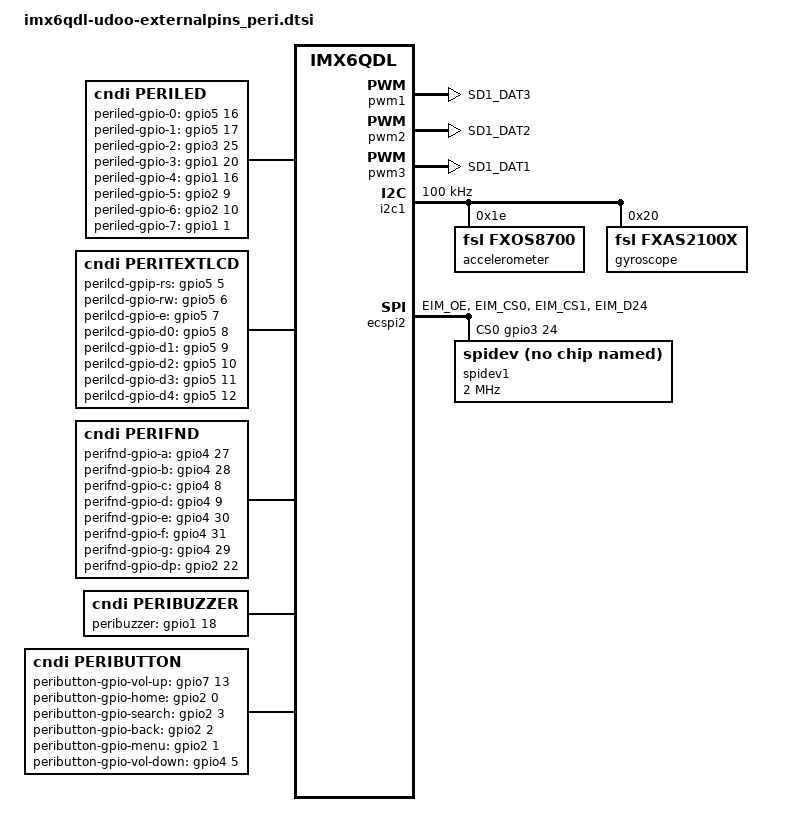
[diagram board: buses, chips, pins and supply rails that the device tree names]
/*
 * Author: Francesco Montefoschi <francesco.monte@gmail.com> 
 *
 * This program is free software; you can redistribute it and/or modify
 * it under the terms of the GNU General Public License version 2 as
 * published by the Free Software Foundation.
 *
 */
 
&iomuxc {
    imx6q-udoo {
        // External Pinout GPIOs
        external_hog: hoggrp-2 {
        fsl,pins = <
            MX6QDL_PAD_CSI0_DAT11__GPIO5_IO29    0x80000000  // {{external-gpio-0}}
            MX6QDL_PAD_CSI0_DAT10__GPIO5_IO28    0x80000000  // {{external-gpio-1}}
//            MX6QDL_PAD_SD1_CLK__GPIO1_IO20       0x80000000  // {{external-gpio-2}} peri LED3
//            MX6QDL_PAD_SD1_DAT0__GPIO1_IO16      0x80000000  // {{external-gpio-3}} peri LED4
//            MX6QDL_PAD_SD1_DAT1__GPIO1_IO17      0x80000000  // {{external-gpio-4}} peri LED5	=> color LED blue 
//            MX6QDL_PAD_SD1_CMD__GPIO1_IO18       0x80000000  // {{external-gpio-5}} buzzer
//            MX6QDL_PAD_SD4_DAT1__GPIO2_IO09      0x80000000  // {{external-gpio-6}}   peri LED5
//            MX6QDL_PAD_SD4_DAT2__GPIO2_IO10      0x80000000  // {{external-gpio-7}} peri LED6
//            MX6QDL_PAD_SD1_DAT3__GPIO1_IO21      0x80000000  // {{external-gpio-8}} color LED Red
//            MX6QDL_PAD_SD1_DAT2__GPIO1_IO19      0x80000000  // {{external-gpio-9}} color LED Green
//            MX6QDL_PAD_GPIO_1__GPIO1_IO01        0x80000000  // {{external-gpio-10}} peri LED7
            MX6QDL_PAD_GPIO_9__GPIO1_IO09        0x80000000  // {{external-gpio-11}}
            MX6QDL_PAD_GPIO_3__GPIO1_IO03        0x80000000  // {{external-gpio-12}}
            MX6QDL_PAD_SD4_DAT0__GPIO2_IO08      0x80000000  // {{external-gpio-13}}
//            MX6QDL_PAD_CSI0_DAT4__GPIO5_IO22     0x80000000  // {{external-gpio-14}} FND_S5
//            MX6QDL_PAD_CSI0_DAT16__GPIO6_IO02    0x80000000  // {{external-gpio-15}} FND_S4
//            MX6QDL_PAD_CSI0_DAT14__GPIO6_IO00    0x80000000  // {{external-gpio-16}} FND_S3
//            MX6QDL_PAD_CSI0_DAT15__GPIO6_IO01    0x80000000  // {{external-gpio-17}} FND_S2
//            MX6QDL_PAD_CSI0_DAT12__GPIO5_IO30    0x80000000  // {{external-gpio-18}} FND_S1
//            MX6QDL_PAD_CSI0_DAT13__GPIO5_IO31    0x80000000  // {{external-gpio-19}} FND_S0
//            MX6QDL_PAD_EIM_D28__GPIO3_IO28       0x80000000  // {{external-gpio-20}}  I2C1 SDA
//            MX6QDL_PAD_EIM_D21__GPIO3_IO21       0x80000000  // {{external-gpio-21}}  I2C1 SCL
//            MX6QDL_PAD_DISP0_DAT6__GPIO4_IO27    0x80000000  // {{external-gpio-22}} FND_D0
//            MX6QDL_PAD_DISP0_DAT7__GPIO4_IO28    0x80000000  // {{external-gpio-23}} FND_D1
//            MX6QDL_PAD_DISP0_DAT8__GPIO4_IO29    0x80000000  // {{external-gpio-24}} FND_D3
//            MX6QDL_PAD_DISP0_DAT9__GPIO4_IO30    0x80000000  // {{external-gpio-25}} FND_D4
//            MX6QDL_PAD_DISP0_DAT10__GPIO4_IO31   0x80000000  // {{external-gpio-26}} FND_D5
//            MX6QDL_PAD_DISP0_DAT11__GPIO5_IO05   0x80000000  // {{external-gpio-27}}  (LCD_RS)
//            MX6QDL_PAD_DISP0_DAT12__GPIO5_IO06   0x80000000  // {{external-gpio-28}}  (LCD_RW)
//            MX6QDL_PAD_DISP0_DAT13__GPIO5_IO07   0x80000000  // {{external-gpio-29}}  (LCD_E)
//            MX6QDL_PAD_DISP0_DAT14__GPIO5_IO08   0x80000000  // {{external-gpio-30}}  (LCD_D0)
//            MX6QDL_PAD_DISP0_DAT15__GPIO5_IO09   0x80000000  // {{external-gpio-31}}  (LCD_D1)
//            MX6QDL_PAD_DISP0_DAT16__GPIO5_IO10   0x80000000  // {{external-gpio-32}}  (LCD_D2)
//            MX6QDL_PAD_DISP0_DAT17__GPIO5_IO11   0x80000000  // {{external-gpio-33}}  (LCD_D3)
//            MX6QDL_PAD_DISP0_DAT18__GPIO5_IO12   0x80000000  // {{external-gpio-34}}  (LCD_D4)
//            MX6QDL_PAD_DISP0_DAT19__GPIO5_IO13   0x80000000  // {{external-gpio-35}}  (LCD_D5)
//            MX6QDL_PAD_DISP0_DAT20__GPIO5_IO14   0x80000000  // {{external-gpio-36}}  (LCD_D6)
//            MX6QDL_PAD_DISP0_DAT21__GPIO5_IO15   0x80000000  // {{external-gpio-37}}  (LCD_D7)
//            MX6QDL_PAD_EIM_A16__GPIO2_IO22       0x80000000  // {{external-gpio-38}} FND_D2
//            MX6QDL_PAD_GPIO_18__GPIO7_IO13       0x80000000  // {{external-gpio-39}} (KEY_VOL_UP)
//            MX6QDL_PAD_NANDF_D0__GPIO2_IO00      0x80000000  // {{external-gpio-40}} (HOME)
//            MX6QDL_PAD_NANDF_D3__GPIO2_IO03      0x80000000  // {{external-gpio-41}} (SEARCH)
//            MX6QDL_PAD_NANDF_D2__GPIO2_IO02      0x80000000  // {{external-gpio-42}} (BACK)
//            MX6QDL_PAD_NANDF_D1__GPIO2_IO01      0x80000000  // {{external-gpio-43}} (MENU)
//            MX6QDL_PAD_GPIO_19__GPIO4_IO05       0x80000000  // {{external-gpio-44}} (KEY_VOL_DOWN)
//           MX6QDL_PAD_DISP0_DAT22__GPIO5_IO16   0x80000000  // {{external-gpio-45}} peri LED0
//           MX6QDL_PAD_DISP0_DAT23__GPIO5_IO17   0x80000000  // {{external-gpio-46}} peri LED1	
//           MX6QDL_PAD_EIM_D25__GPIO3_IO25       0x80000000  // {{external-gpio-47}} peri LED2
//            MX6QDL_PAD_KEY_ROW1__GPIO4_IO09      0x80000000  // {{external-gpio-48}} FND_D6
//            MX6QDL_PAD_KEY_COL1__GPIO4_IO08      0x80000000  // {{external-gpio-49}} FND_D7
//            MX6QDL_PAD_EIM_OE__GPIO2_IO25        0x80000000  // {{external-gpio-50}}
//            MX6QDL_PAD_EIM_CS1__GPIO2_IO24       0x80000000  // {{external-gpio-51}}
//            MX6QDL_PAD_EIM_CS0__GPIO2_IO23       0x80000000  // {{external-gpio-52}}
//           MX6QDL_PAD_EIM_D24__GPIO3_IO24       0x80000000  // {{external-gpio-53}}
            MX6QDL_PAD_GPIO_8__GPIO1_IO08        0x80000000  // {{external-gpio-54}}
            MX6QDL_PAD_GPIO_7__GPIO1_IO07        0x80000000  // {{external-gpio-55}}
            >;
        };
//cndi peri LED
		pinctrl_periled: ledgrp {
			fsl,pins = <
				MX6QDL_PAD_DISP0_DAT22__GPIO5_IO16   0x80000000  // {{external-gpio-45}} peri LED0
				MX6QDL_PAD_DISP0_DAT23__GPIO5_IO17   0x80000000  // {{external-gpio-46}} peri LED1	
				MX6QDL_PAD_EIM_D25__GPIO3_IO25       0x80000000  // {{external-gpio-47}} peri LED2
				MX6QDL_PAD_SD1_CLK__GPIO1_IO20       0x80000000  // {{external-gpio-2}} peri LED3
				MX6QDL_PAD_SD1_DAT0__GPIO1_IO16      0x80000000  // {{external-gpio-3}} peri LED4
//				MX6QDL_PAD_SD1_DAT1__GPIO1_IO17      0x80000000  // {{external-gpio-4}} peri LED5	
				MX6QDL_PAD_SD4_DAT1__GPIO2_IO09      0x80000000  // {{external-gpio-6}} peri LED5
				MX6QDL_PAD_SD4_DAT2__GPIO2_IO10      0x80000000  // {{external-gpio-7}} peri LED6
				MX6QDL_PAD_GPIO_1__GPIO1_IO01        0x80000000  // {{external-gpio-10}} peri LED7
			>;

		};
//cndi  text LCD
		pinctrl_peritextlcd: textgrp {
			fsl,pins = <
            MX6QDL_PAD_DISP0_DAT11__GPIO5_IO05   0x80000000  // {{external-gpio-27}}  (LCD_RS)
            MX6QDL_PAD_DISP0_DAT12__GPIO5_IO06   0x80000000  // {{external-gpio-28}}  (LCD_RW)
            MX6QDL_PAD_DISP0_DAT13__GPIO5_IO07   0x80000000  // {{external-gpio-29}}  (LCD_E)
            MX6QDL_PAD_DISP0_DAT14__GPIO5_IO08   0x80000000  // {{external-gpio-30}}  (LCD_D0)
            MX6QDL_PAD_DISP0_DAT15__GPIO5_IO09   0x80000000  // {{external-gpio-31}}  (LCD_D1)
            MX6QDL_PAD_DISP0_DAT16__GPIO5_IO10   0x80000000  // {{external-gpio-32}}  (LCD_D2)
            MX6QDL_PAD_DISP0_DAT17__GPIO5_IO11   0x80000000  // {{external-gpio-33}}  (LCD_D3)
            MX6QDL_PAD_DISP0_DAT18__GPIO5_IO12   0x80000000  // {{external-gpio-34}}  (LCD_D4)
            MX6QDL_PAD_DISP0_DAT19__GPIO5_IO13   0x80000000  // {{external-gpio-35}}  (LCD_D5)
            MX6QDL_PAD_DISP0_DAT20__GPIO5_IO14   0x80000000  // {{external-gpio-36}}  (LCD_D6)
            MX6QDL_PAD_DISP0_DAT21__GPIO5_IO15   0x80000000  // {{external-gpio-37}}  (LCD_D7)
			>;

		};
// cndi fnd
		pinctrl_perifnd: fndgrp {
			fsl,pins = <
            MX6QDL_PAD_DISP0_DAT6__GPIO4_IO27    0x80000000  // {{external-gpio-22}} FND_D0
            MX6QDL_PAD_DISP0_DAT7__GPIO4_IO28    0x80000000  // {{external-gpio-23}} FND_D1
            MX6QDL_PAD_EIM_A16__GPIO2_IO22       0x80000000  // {{external-gpio-38}} FND_D2
            MX6QDL_PAD_DISP0_DAT8__GPIO4_IO29    0x80000000  // {{external-gpio-24}} FND_D3
            MX6QDL_PAD_DISP0_DAT9__GPIO4_IO30    0x80000000  // {{external-gpio-25}} FND_D4
            MX6QDL_PAD_DISP0_DAT10__GPIO4_IO31   0x80000000  // {{external-gpio-26}} FND_D5
            MX6QDL_PAD_KEY_ROW1__GPIO4_IO09      0x80000000  // {{external-gpio-48}} FND_D6
            MX6QDL_PAD_KEY_COL1__GPIO4_IO08      0x80000000  // {{external-gpio-49}} FND_D7
            MX6QDL_PAD_CSI0_DAT4__GPIO5_IO22     0x80000000  // {{external-gpio-14}} FND_S5
            MX6QDL_PAD_CSI0_DAT16__GPIO6_IO02    0x80000000  // {{external-gpio-15}} FND_S4
            MX6QDL_PAD_CSI0_DAT14__GPIO6_IO00    0x80000000  // {{external-gpio-16}} FND_S3
            MX6QDL_PAD_CSI0_DAT15__GPIO6_IO01    0x80000000  // {{external-gpio-17}} FND_S2
            MX6QDL_PAD_CSI0_DAT12__GPIO5_IO30    0x80000000  // {{external-gpio-18}} FND_S1
            MX6QDL_PAD_CSI0_DAT13__GPIO5_IO31    0x80000000  // {{external-gpio-19}} FND_S0
			>;
		};
// cndi buzzer
		pinctrl_peribuzzer: buzzergrp {
			fsl,pins = <
            MX6QDL_PAD_SD1_CMD__GPIO1_IO18       0x80000000  // {{external-gpio-5}} buzzer
			>;
		};		
// cndi button
		pinctrl_peributton: buttongrp {
			fsl,pins = <
            MX6QDL_PAD_GPIO_18__GPIO7_IO13       0x80000000  // {{external-gpio-39}} (KEY_VOL_UP)
            MX6QDL_PAD_NANDF_D0__GPIO2_IO00      0x80000000  // {{external-gpio-40}} (HOME)
            MX6QDL_PAD_NANDF_D3__GPIO2_IO03      0x80000000  // {{external-gpio-41}} (SEARCH)
            MX6QDL_PAD_NANDF_D2__GPIO2_IO02      0x80000000  // {{external-gpio-42}} (BACK)
            MX6QDL_PAD_NANDF_D1__GPIO2_IO01      0x80000000  // {{external-gpio-43}} (MENU)
            MX6QDL_PAD_GPIO_19__GPIO4_IO05       0x80000000  // {{external-gpio-44}} (KEY_VOL_DOWN)
			>;
		};		
		
		
        pinctrl_flexcan1: can1grp {
            fsl,pins = <
            MX6QDL_PAD_GPIO_7__FLEXCAN1_TX    0x1b0b1
            MX6QDL_PAD_GPIO_8__FLEXCAN1_RX    0x1b0b1
            >;
        };

        pinctrl_ecspi1: ecspi1grp {
            fsl,pins = <
            MX6QDL_PAD_DISP0_DAT22__ECSPI1_MISO  0x100b1
            MX6QDL_PAD_DISP0_DAT20__ECSPI1_SCLK  0x100b1
            MX6QDL_PAD_DISP0_DAT21__ECSPI1_MOSI  0x100b1
            MX6QDL_PAD_DISP0_DAT23__GPIO5_IO17   0x80000000
            >;
        };

        pinctrl_ecspi2: ecspi2grp {
            fsl,pins = <
            MX6QDL_PAD_EIM_OE__ECSPI2_MISO      0x100b1
            MX6QDL_PAD_EIM_CS0__ECSPI2_SCLK     0x100b1
            MX6QDL_PAD_EIM_CS1__ECSPI2_MOSI     0x100b1
	    MX6QDL_PAD_EIM_D24__GPIO3_IO24       0x80000000  // {{external-gpio-53}}
//            MX6QDL_PAD_DISP0_DAT18__GPIO5_IO12  0x80000000
            >;
        };

        pinctrl_usdhc1: usdhc1grp {
            fsl,pins = <
            MX6QDL_PAD_SD1_CMD__SD1_CMD       0x17059
            MX6QDL_PAD_SD1_CLK__SD1_CLK       0x10059
            MX6QDL_PAD_SD1_DAT0__SD1_DATA0    0x17059
            MX6QDL_PAD_SD1_DAT1__SD1_DATA1    0x17059
            MX6QDL_PAD_SD1_DAT2__SD1_DATA2    0x17059
            MX6QDL_PAD_SD1_DAT3__SD1_DATA3    0x17059
            >;
        };

        pinctrl_pwm1: pwm1grp {
            fsl,pins = <
            MX6QDL_PAD_SD1_DAT3__PWM1_OUT     0x1b0b1  // {{external-pwm1-8}}
//          MX6QDL_PAD_GPIO_9__PWM1_OUT       0x1b0b1  // {{external-pwm1-11}}
            >;
        };
        
        pinctrl_pwm2: pwm2grp {
            fsl,pins = <
            MX6QDL_PAD_SD1_DAT2__PWM2_OUT     0x1b0b1  // {{external-pwm2-9}}
//          MX6QDL_PAD_GPIO_1__PWM2_OUT       0x1b0b1  // {{external-pwm2-10}}
            >;
        };
        
        pinctrl_pwm3: pwm3grp {
            fsl,pins = <
            MX6QDL_PAD_SD1_DAT1__PWM3_OUT     0x1b0b1  // {{external-pwm3-4}}
//          MX6QDL_PAD_SD4_DAT1__PWM3_OUT     0x1b0b1  // {{external-pwm3-6}}
            >;
        };
        
        pinctrl_pwm4: pwm4grp {
            fsl,pins = <
            MX6QDL_PAD_SD1_CMD__PWM4_OUT      0x1b0b1  // {{external-pwm4-5}}
//          MX6QDL_PAD_SD4_DAT2__PWM4_OUT     0x1b0b1  // {{external-pwm4-7}}
            >;
        };

        pinctrl_spdif: spdifgrp {
            fsl,pins = <
            MX6QDL_PAD_GPIO_19__SPDIF_OUT     0x1b0b0
            MX6QDL_PAD_EIM_D21__SPDIF_IN      0x1b0b0
            >;
        };

        pinctrl_uart3: uart3grp {
            fsl,pins = <
            MX6QDL_PAD_EIM_D24__UART3_TX_DATA      0x1b0b1
            MX6QDL_PAD_EIM_D25__UART3_RX_DATA      0x1b0b1
            >;
        };
        
        pinctrl_uart5: uart5grp {
            fsl,pins = <
            MX6QDL_PAD_CSI0_DAT14__UART5_TX_DATA      0x1b0b1
            MX6QDL_PAD_CSI0_DAT15__UART5_RX_DATA      0x1b0b1
            >;
        };
    };
 };

&flexcan1 {
    pinctrl-names = "default";
    pinctrl-0 = <&pinctrl_flexcan1>;
    status = "disabled";
};

 
&usdhc1 {
    pinctrl-names = "default";
    pinctrl-0 = <&pinctrl_usdhc1>;
    non-removable;
    keep-power-in-suspend;
    no-1-8-v;
    enable-sdio-wakeup;
    status = "disabled";
};

&pwm1 {
    pinctrl-names = "default";
    pinctrl-0 = <&pinctrl_pwm1>;
    status = "okay";
};

&pwm2 {
    pinctrl-names = "default";
    pinctrl-0 = <&pinctrl_pwm2>;
    status = "okay";
};

&pwm3 {
    pinctrl-names = "default";
    pinctrl-0 = <&pinctrl_pwm3>;
    status = "okay";
};

&pwm4 {
    pinctrl-names = "default";
    pinctrl-0 = <&pinctrl_pwm4>;
    status = "disabled";
};

&spdif {
   pinctrl-names = "default";
   pinctrl-0 = <&pinctrl_spdif>;
   status = "disabled";
};

&uart3 {
	pinctrl-names = "default";
	pinctrl-0 = <&pinctrl_uart3>;
	status = "disabled";
};

&uart5 {
	pinctrl-names = "default";
	pinctrl-0 = <&pinctrl_uart5>;
	status = "disabled";
};

&i2c1 {
	clock-frequency = <100000>;
	pinctrl-names = "default";
	pinctrl-0 = <&pinctrl_i2c1>;
	status = "okay";
        accelerometer: fxos8700@1e {
                compatible = "fsl,fxos8700";
                reg = <0x1e>;
        };

        gyroscope: fxas2100x@20 {
                compatible = "fsl,fxas2100x";
                reg = <0x20>;
        };

};

&ecspi1 {
	fsl,spi-num-chipselects = <1>;
	cs-gpios = <&gpio5 17 0>;
	pinctrl-0 = <&pinctrl_ecspi1>;
	pinctrl-names = "default";
	status = "disabled";

	spidev0: spi@0 {
		compatible = "spidev";
		reg = <0>;
		spi-max-frequency = <2000000>;
	};
};

&ecspi2 {
	fsl,spi-num-chipselects = <1>;
	// cs-gpios = <&gpio5 12 0>;
	cs-gpios = <&gpio3 24 0>; //D53
	pinctrl-0 = <&pinctrl_ecspi2>;
	pinctrl-names = "default";
//	status = "disabled";
	status = "okay";

	spidev1: spi@0 {
		compatible = "spidev";
		reg = <0>;
		spi-max-frequency = <2000000>;
	};
/*
	spidev1: spi@0 {
		compatible = "lm74";
		reg = <0>;
		spi-max-frequency = <2000000>;
	};
*/
};

/ {
    sound_spdif {
        compatible = "fsl,imx-audio-spdif";
        model = "imx-spdif";
        spdif-controller = <&spdif>;
        spdif-out;
        spdif-in;
        status = "disabled";
    };

    periled {
	compatible = "cndi,periled";
        pinctrl-names = "default";  
        pinctrl-0 = <&pinctrl_periled>;
		periled-gpio-0 = <&gpio5 16 GPIO_ACTIVE_HIGH>;
		periled-gpio-1 = <&gpio5 17 GPIO_ACTIVE_HIGH>;
		periled-gpio-2 = <&gpio3 25 GPIO_ACTIVE_HIGH>;
		periled-gpio-3 = <&gpio1 20 GPIO_ACTIVE_HIGH>;
		periled-gpio-4 = <&gpio1 16 GPIO_ACTIVE_HIGH>;
//		periled-gpio-5 = <&gpio1 17 GPIO_ACTIVE_HIGH>;
		periled-gpio-5 = <&gpio2 9 GPIO_ACTIVE_HIGH>;
		periled-gpio-6 = <&gpio2 10 GPIO_ACTIVE_HIGH>;
		periled-gpio-7 = <&gpio1 1 GPIO_ACTIVE_HIGH>;
        status = "okay"; 
    };
	
	peritextlcd {
	compatible = "cndi,peritextlcd";
        pinctrl-names = "default";  
        pinctrl-0 = <&pinctrl_peritextlcd>;
		perilcd-gpip-rs = <&gpio5 5 GPIO_ACTIVE_HIGH>;
		perilcd-gpio-rw = <&gpio5 6 GPIO_ACTIVE_HIGH>;
		perilcd-gpio-e = <&gpio5 7 GPIO_ACTIVE_HIGH>;
		perilcd-gpio-d0 = <&gpio5 8 GPIO_ACTIVE_HIGH>;
		perilcd-gpio-d1 = <&gpio5 9 GPIO_ACTIVE_HIGH>;
		perilcd-gpio-d2 = <&gpio5 10 GPIO_ACTIVE_HIGH>;
		perilcd-gpio-d3 = <&gpio5 11 GPIO_ACTIVE_HIGH>;
		perilcd-gpio-d4 = <&gpio5 12 GPIO_ACTIVE_HIGH>;
		perilcd-gpio-d5 = <&gpio5 13 GPIO_ACTIVE_HIGH>;
		perilcd-gpio-d6 = <&gpio5 14 GPIO_ACTIVE_HIGH>;
		perilcd-gpio-d7 = <&gpio5 15 GPIO_ACTIVE_HIGH>;
        status = "okay"; 
	};

	perifnd {
	compatible = "cndi,perifnd";
        pinctrl-names = "default";  
        pinctrl-0 = <&pinctrl_perifnd>;
		perifnd-gpio-a = <&gpio4 27 GPIO_ACTIVE_HIGH>;  // {{external-gpio-22}} FND_D0  FND_a
		perifnd-gpio-b = <&gpio4 28 GPIO_ACTIVE_HIGH>;  // {{external-gpio-23}} FND_D1  FND_b
		perifnd-gpio-c = <&gpio4 8 GPIO_ACTIVE_HIGH>;   // {{external-gpio-49}} FND_D7  FND_c
		perifnd-gpio-d = <&gpio4 9 GPIO_ACTIVE_HIGH>;   // {{external-gpio-48}} FND_D6  FND_d
		perifnd-gpio-e = <&gpio4 30 GPIO_ACTIVE_HIGH>;  // {{external-gpio-25}} FND_D4  FND_e
		perifnd-gpio-f = <&gpio4 31 GPIO_ACTIVE_HIGH>;  // {{external-gpio-26}} FND_D5  FND_f
		perifnd-gpio-g = <&gpio4 29 GPIO_ACTIVE_HIGH>;  // {{external-gpio-24}} FND_D3  FND_g
		perifnd-gpio-dp = <&gpio2 22 GPIO_ACTIVE_HIGH>; // {{external-gpio-38}} FND_D2  FND_DP
		
		perifnd-gpio-s0 = <&gpio5 31 GPIO_ACTIVE_HIGH>;
		perifnd-gpio-s1 = <&gpio5 30 GPIO_ACTIVE_HIGH>;
		perifnd-gpio-s2 = <&gpio6 1 GPIO_ACTIVE_HIGH>;
		perifnd-gpio-s3 = <&gpio6 0 GPIO_ACTIVE_HIGH>;
		perifnd-gpio-s4 = <&gpio6 2 GPIO_ACTIVE_HIGH>;
		perifnd-gpio-s5 = <&gpio5 22 GPIO_ACTIVE_HIGH>;
        status = "okay"; 
	};
	peribuzzer {
	compatible = "cndi,peribuzzer";
        pinctrl-names = "default";  
        pinctrl-0 = <&pinctrl_peribuzzer>;
		peribuzzer-gpio = <&gpio1 18 GPIO_ACTIVE_HIGH>;  // {{external-gpio-5}} buzzer	
        status = "okay"; 
	};

	peributton {
	compatible = "cndi,peributton";
        pinctrl-names = "default";  
        pinctrl-0 = <&pinctrl_peributton>;
		peributton-gpio-vol-up = <&gpio7 13 GPIO_ACTIVE_HIGH>;  // {{external-gpio-39}} (KEY_VOL_UP)	
		peributton-gpio-home = <&gpio2 0 GPIO_ACTIVE_HIGH>;  	// {{external-gpio-40}} (HOME)	
		peributton-gpio-search = <&gpio2 3 GPIO_ACTIVE_HIGH>;   // {{external-gpio-41}} (SEARCH)	
		peributton-gpio-back = <&gpio2 2 GPIO_ACTIVE_HIGH>;  	// {{external-gpio-42}} (BACK)	
		peributton-gpio-menu = <&gpio2 1 GPIO_ACTIVE_HIGH>;  	// {{external-gpio-43}} (MENU)	
		peributton-gpio-vol-down = <&gpio4 5 GPIO_ACTIVE_HIGH>; // {{external-gpio-44}} (KEY_VOL_DOWN)	
        status = "okay"; 
	};

	
    onewire@2 {
        compatible = "w1-gpio";
        gpios = <&gpio1 20 GPIO_ACTIVE_HIGH>;
        status = "disabled";
    };
    
    onewire@3 {
        compatible = "w1-gpio";
        gpios = <&gpio1 16 GPIO_ACTIVE_HIGH>;
        status = "disabled";
    };
    
    onewire@4 {
        compatible = "w1-gpio";
        gpios = <&gpio1 17 GPIO_ACTIVE_HIGH>;
        status = "disabled";
    };
    onewire@5 {
        compatible = "w1-gpio";
        gpios = <&gpio1 18 GPIO_ACTIVE_HIGH>;
        status = "disabled";
    };
    
    onewire@6 {
        compatible = "w1-gpio";
        gpios = <&gpio2 9 GPIO_ACTIVE_HIGH>;
        status = "disabled";
    };
    onewire@7 {
        compatible = "w1-gpio";
        gpios = <&gpio2 10 GPIO_ACTIVE_HIGH>;
        status = "disabled";
    };
    onewire@8 {
        compatible = "w1-gpio";
        gpios = <&gpio1 21 GPIO_ACTIVE_HIGH>;
        status = "disabled";
    };
    
    onewire@9 {
        compatible = "w1-gpio";
        gpios = <&gpio1 19 GPIO_ACTIVE_HIGH>;
        status = "disabled";
    };
    onewire@10 {
        compatible = "w1-gpio";
        gpios = <&gpio1 1 GPIO_ACTIVE_HIGH>;
        status = "disabled";
    };
    onewire@11 {
        compatible = "w1-gpio";
        gpios = <&gpio1 9 GPIO_ACTIVE_HIGH>;
        status = "disabled";
    };
    
    onewire@12 {
        compatible = "w1-gpio";
        gpios = <&gpio1 3 GPIO_ACTIVE_HIGH>;
        status = "disabled";
    };
    
    onewire@13 {
        compatible = "w1-gpio";
        gpios = <&gpio2 8 GPIO_ACTIVE_HIGH>;
        status = "disabled";
    };
    onewire@14 {
        compatible = "w1-gpio";
        gpios = <&gpio5 22 GPIO_ACTIVE_HIGH>;
        status = "disabled";
    };
      
    onewire@15 {
        compatible = "w1-gpio";
        gpios = <&gpio6 2 GPIO_ACTIVE_HIGH>;
        status = "disabled";
    };
    
    onewire@16 {
        compatible = "w1-gpio";
        gpios = <&gpio6 0 GPIO_ACTIVE_HIGH>;
        status = "disabled";
    };
    
    onewire@17 {
        compatible = "w1-gpio";
        gpios = <&gpio6 1 GPIO_ACTIVE_HIGH>;
        status = "disabled";
    };
    onewire@18 {
        compatible = "w1-gpio";
        gpios = <&gpio5 30 GPIO_ACTIVE_HIGH>;
        status = "disabled";
    };
    
    onewire@19 {
        compatible = "w1-gpio";
        gpios = <&gpio5 31 GPIO_ACTIVE_HIGH>;
        status = "disabled";
    };
    onewire@20 {
        compatible = "w1-gpio";
        gpios = <&gpio3 21 GPIO_ACTIVE_HIGH>;
        status = "disabled";
    };
    
    onewire@21 {
        compatible = "w1-gpio";
        gpios = <&gpio3 28 GPIO_ACTIVE_HIGH>;
        status = "disabled";
    };
    onewire@22 {
        compatible = "w1-gpio";
        gpios = <&gpio4 27 GPIO_ACTIVE_HIGH>; 
        status = "disabled";
    };
    onewire@23 {
        compatible = "w1-gpio";
        gpios = <&gpio4 28 GPIO_ACTIVE_HIGH>;
        status = "disabled";
    };
    
    onewire@24 {
        compatible = "w1-gpio";
        gpios = <&gpio4 29 GPIO_ACTIVE_HIGH>;
        status = "disabled";
    };
    
    onewire@25 {
        compatible = "w1-gpio";
        gpios = <&gpio4 30 GPIO_ACTIVE_HIGH>;
        status = "disabled";
    };
    
    onewire@26 {
        compatible = "w1-gpio";
        gpios = <&gpio4 31 GPIO_ACTIVE_HIGH>;
        status = "disabled";
    };
    onewire@27 {
        compatible = "w1-gpio";
        gpios = <&gpio5 5 GPIO_ACTIVE_HIGH>;
        status = "disabled";
    };
    
    onewire@28 {
        compatible = "w1-gpio";
        gpios = <&gpio5 6 GPIO_ACTIVE_HIGH>;
        status = "disabled";
    };

    onewire@29 {
        compatible = "w1-gpio";
        gpios = <&gpio5 7 GPIO_ACTIVE_HIGH>;
        status = "disabled";
    };
    
    onewire@30 {
        compatible = "w1-gpio";
        gpios = <&gpio5 8 GPIO_ACTIVE_HIGH>;
        status = "disabled";
    };
    
    onewire@31 {
        compatible = "w1-gpio";
        gpios = <&gpio5 9 GPIO_ACTIVE_HIGH>;
        status = "disabled";
    };
    
    onewire@32 {
        compatible = "w1-gpio";
        gpios = <&gpio5 10 GPIO_ACTIVE_HIGH>;
        status = "disabled";
    };
    
    onewire@33 {
        compatible = "w1-gpio";
        gpios = <&gpio5 11 GPIO_ACTIVE_HIGH>;
        status = "disabled";
    };
    
    onewire@34 {
        compatible = "w1-gpio";
        gpios = <&gpio5 12 GPIO_ACTIVE_HIGH>;
        status = "disabled";
    };
    
    onewire@35 {
        compatible = "w1-gpio";
        gpios = <&gpio5 13 GPIO_ACTIVE_HIGH>;
        status = "disabled";
    };
    
    onewire@36 {
        compatible = "w1-gpio";
        gpios = <&gpio5 14 GPIO_ACTIVE_HIGH>;
        status = "disabled";
    };
    
    onewire@37 {
        compatible = "w1-gpio";
        gpios = <&gpio5 15 GPIO_ACTIVE_HIGH>;
        status = "disabled";
    };
    onewire@38 {
        compatible = "w1-gpio";
        gpios = <&gpio2 22 GPIO_ACTIVE_HIGH>;
        status = "disabled";
    };
    onewire@39 {
        compatible = "w1-gpio";
        gpios = <&gpio7 13 GPIO_ACTIVE_HIGH>;
        status = "disabled";
    };
    
    onewire@40 {
        compatible = "w1-gpio";
        gpios = <&gpio2 0 GPIO_ACTIVE_HIGH>;
        status = "disabled";
    };
    
    onewire@41 {
        compatible = "w1-gpio";
        gpios = <&gpio2 3 GPIO_ACTIVE_HIGH>;
        status = "disabled";
    };
    
    onewire@42 {
        compatible = "w1-gpio";
        gpios = <&gpio2 2 GPIO_ACTIVE_HIGH>;
        status = "disabled";
    };
    
    onewire@43 {
        compatible = "w1-gpio";
        gpios = <&gpio2 1 GPIO_ACTIVE_HIGH>;
        status = "disabled";
    };
    
    onewire@44 {
        compatible = "w1-gpio";
        gpios = <&gpio4 5 GPIO_ACTIVE_HIGH>;
        status = "disabled";
    };
    onewire@45 {
        compatible = "w1-gpio";
        gpios = <&gpio5 16 GPIO_ACTIVE_HIGH>;
        status = "disabled";
    };
    onewire@46 {
        compatible = "w1-gpio";
        gpios = <&gpio5 17 GPIO_ACTIVE_HIGH>;
        status = "disabled";
    };
    
    onewire@47 {
        compatible = "w1-gpio";
        gpios = <&gpio3 25 GPIO_ACTIVE_HIGH>;
        status = "disabled";
    };
    onewire@48 {
        compatible = "w1-gpio";
        gpios = <&gpio4 9 GPIO_ACTIVE_HIGH>;
        status = "disabled";
    };
    
    onewire@49 {
        compatible = "w1-gpio";
        gpios = <&gpio4 8 GPIO_ACTIVE_HIGH>;
        status = "disabled";
    };
    onewire@50 {
        compatible = "w1-gpio";
        gpios = <&gpio2 25 GPIO_ACTIVE_HIGH>;
        status = "disabled";
    };
    
    onewire@51 {
        compatible = "w1-gpio";
        gpios = <&gpio2 24 GPIO_ACTIVE_HIGH>;
        status = "disabled";
    };
    
    onewire@52 {
        compatible = "w1-gpio";
        gpios = <&gpio2 23 GPIO_ACTIVE_HIGH>;
        status = "disabled";
    };
    
    onewire@53 {
        compatible = "w1-gpio";
        gpios = <&gpio3 24 GPIO_ACTIVE_HIGH>;
        status = "disabled";
    };
}; 
